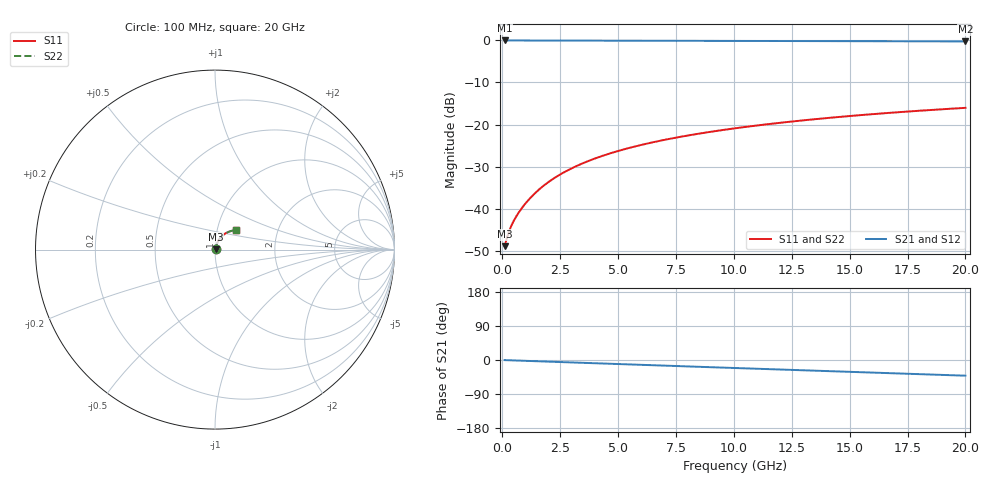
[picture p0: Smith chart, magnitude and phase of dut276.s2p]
! Touchstone file exported from HFSS 2026.1.0
!  File:  C:/ffzhzh/LocalFiles/Ansys_Project_Files/temp_train_BSMRDL_276_1782989024_42984.aedt
!  Generated:  06:44:55 PM Jul  2, 2026
!  Design:  BSMRDL
!  Project:  temp_train_BSMRDL_276_1782989024_42984
! Variables:
!  h_bsmrdl = 3.91um
!  h_ox = 20um
!  h_rdl = 5um
!  h_sub = 80um
!  h_tmrdl = 5um
!  h_tsv = 80um
!  h_via = 3um
!  l_bsmrdl = 717.97um
!  l_sub = 1117.97um
!  l_tmrdl = 200um
!  m_sub = 200um
!  pitch = 29.64um
!  r_tsv = 6um
!  s_tmrdl = 10um
!  w_bsmrdl = 21.37um
!  w_sub = 500um
!  w_tmrdl = 12um
!  x_tsv_center1 = 206um
!  x_tsv_center2 = 945.34um
!  x_tsv_center3 = 1157.34um
!  x_tsv_center4 = 1896.68um
!  x_tsv_center5 = 2108.68um
!  x_tsv_center6 = 2848.02um
# GHz S MA R 50.000000
! Terminal data exported
! Port[1] = BSM_RDL1_1_T1
! Port[2] = BSM_RDL1_1_T2
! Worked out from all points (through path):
!   200 points, 100 MHz to 20 GHz, reference 50 ohm
!   highest |S21| = -0.03 dB at 100 MHz (marker M1); lowest = -0.3 dB at 20 GHz (marker M2)
!   group delay of S21, straight-line fit = 5.73 ps
!   lowest |S11| = -48.9 dB at 100 MHz (marker M3), VSWR 1.01, Z = 50.3 + j0.144 ohm
!   |S11| at or under -10 dB: start of sweep to end of sweep
!   |S22| runs from -48.9 to -16.0 dB; largest |S21 - S12| = 2.7e-15
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0.1  0.003588 23.5  0.9967 -0.2  0.9967 -0.2  0.003588 23.5
! Gamma 0 0 0 0
! Port Impedance 50 0 50 0
0.2  0.004498 36.8  0.9964 -0.5  0.9964 -0.5  0.004498 36.9
0.3  0.005456 43.9  0.9961 -0.7  0.9961 -0.7  0.005458 43.9
0.4  0.006359 48.5  0.9959 -0.9  0.9959 -0.9  0.006362 48.5
0.5  0.007221 52.1  0.9957 -1.1  0.9957 -1.1  0.007226 52.1
0.6  0.008069 55.0  0.9955 -1.3  0.9955 -1.3  0.008074 55.0
0.8  0.009779 59.7  0.9953 -1.8  0.9953 -1.8  0.009784 59.7
1  0.01153 63.1  0.9952 -2.2  0.9952 -2.2  0.01154 63.1
1.2  0.01333 65.7  0.995 -2.6  0.995 -2.6  0.01334 65.6
1.7  0.01796 69.4  0.9947 -3.7  0.9947 -3.7  0.01796 69.4
2.2  0.02267 71.1  0.9943 -4.8  0.9943 -4.8  0.02267 71.1
2.8  0.02833 71.8  0.9937 -6.0  0.9937 -6.0  0.02833 71.8
3.5  0.03486 71.7  0.9929 -7.5  0.9929 -7.5  0.03486 71.7
4.2  0.04129 71.1  0.992 -9.0  0.992 -9.0  0.04129 71.0
5  0.04848 70.0  0.991 -10.7  0.991 -10.7  0.04848 69.9
5.9  0.05636 68.6  0.9897 -12.6  0.9897 -12.6  0.05636 68.5
6.8  0.06402 67.1  0.9884 -14.5  0.9884 -14.5  0.06403 67.0
8.3  0.07637 64.4  0.9863 -17.6  0.9863 -17.6  0.07638 64.3
10.1  0.09056 61.2  0.9838 -21.3  0.9838 -21.3  0.09057 61.1
13.4  0.115 55.2  0.9794 -28.0  0.9794 -28.0  0.115 55.0
16.7  0.1375 49.1  0.975 -34.7  0.975 -34.7  0.1375 48.9
20  0.1578 43.0  0.9708 -41.4  0.9708 -41.4  0.1578 42.7
